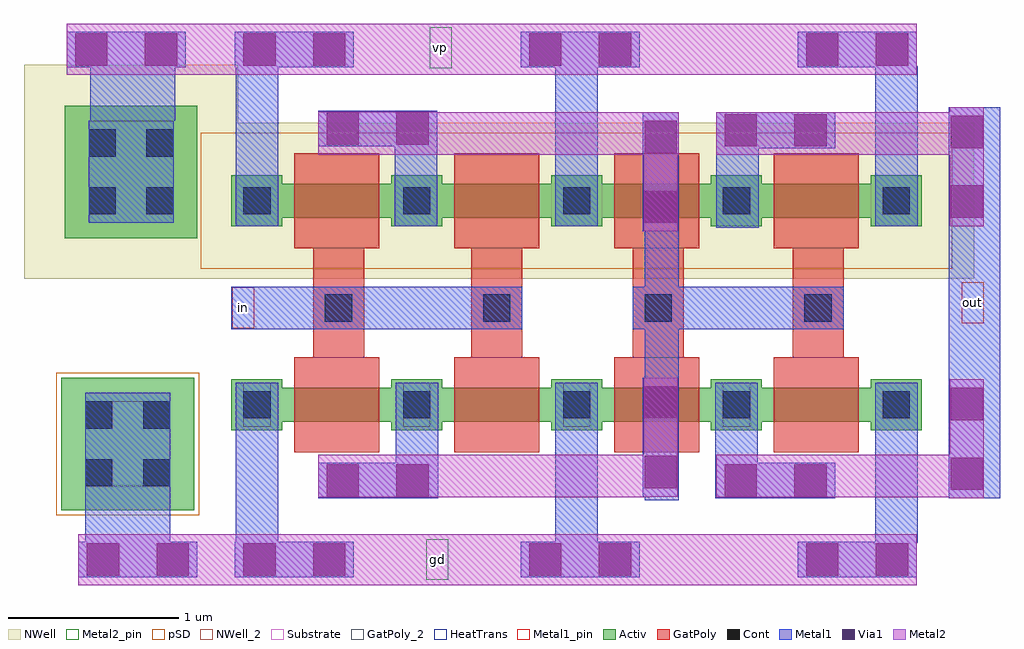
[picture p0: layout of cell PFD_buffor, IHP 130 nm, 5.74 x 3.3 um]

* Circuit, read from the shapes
.subckt PFD_buffor gd in out vp
XM1 n1 in gd gd sg13_lv_nmos w=0.2u l=0.5u m=2
XM2 out n1 gd gd sg13_lv_nmos w=0.2u l=0.5u m=2
XM3 n1 in vp vp sg13_lv_pmos w=0.2u l=0.5u m=2
XM4 out n1 vp vp sg13_lv_pmos w=0.2u l=0.5u m=2
.ends

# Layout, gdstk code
import gdstk
lib = gdstk.Library(unit=1e-6, precision=1e-09)
def R(c, l, rs):  # rectangles x0, y0, x1, y1
    for r in rs: c.add(gdstk.rectangle(r[:2], r[2:], *l))
def A(c, l, x, y, w, h, nx, ny, dx, dy):  # array of equal rectangles
    R(c, l, [(x+i*dx, y+j*dy, x+i*dx+w, y+j*dy+h) for i in range(nx) for j in range(ny)])
Activ = (1, 0)
GatPoly = (5, 0)
GatPoly_2 = (5, 2)
Cont = (6, 0)
Metal1 = (8, 0)
Metal1_pin = (8, 2)
Metal2 = (10, 0)
Metal2_pin = (10, 2)
pSD = (14, 0)
Via1 = (19, 0)
NWell = (31, 0)
NWell_2 = (31, 2)
Substrate = (40, 0)
HeatTrans = (51, 0)

pmos = lib.new_cell('pmos')
A(pmos, Activ, 0, 0, 0.3, 0.3, 3, 1, 0.94, 0)
R(pmos, Activ, [(0,0.05,2.18,0.25)])
R(pmos, GatPoly, [(0.37,-0.13,0.87,0.43), (0.37,-0.13,0.87,0.43), (1.31,-0.13,1.81,0.43)])
A(pmos, Cont, 0.07, 0.07, 0.16, 0.16, 3, 1, 0.94, 0)
R(pmos, Metal1, [(0.07,0.02,0.23,0.28), (0.07,0.02,0.23,0.28), (1.01,0.02,1.17,0.28), (1.01,0.02,1.17,0.28), (1.95,0.02,2.11,0.28)])
R(pmos, pSD, [(-0.18,-0.25,2.36,0.55)])
R(pmos, NWell, [(-0.31,-0.31,2.49,0.61)])
R(pmos, Substrate, [(1.88,0,2.18,0.3)])
R(pmos, HeatTrans, [(0.37,-0.13,0.87,0.43), (1.31,-0.13,1.81,0.43)])
pmos.add(gdstk.Label('pmos', (0.62,0.15), layer=63, texttype=0))
pmos.add(gdstk.Label('pmos', (0.62,0.15), layer=51, texttype=0))
pmos.add(gdstk.Label('pmos', (1.56,0.15), layer=51, texttype=0))

via = lib.new_cell('Via')
R(via, Metal1, [(-0.35,-0.105,0.35,0.105)])
R(via, Metal2, [(-0.35,-0.1,0.35,0.1)])
R(via, Via1, [(-0.3,-0.095,-0.11,0.095), (0.11,-0.095,0.3,0.095)])

nmos = lib.new_cell('nmos')
A(nmos, Activ, 0, 0, 0.3, 0.3, 3, 1, 0.94, 0)
R(nmos, Activ, [(0,0.05,2.18,0.25)])
R(nmos, GatPoly, [(0.37,-0.13,0.87,0.43), (1.31,-0.13,1.81,0.43)])
R(nmos, GatPoly_2, [(0.37,-0.13,0.87,0.43)])
A(nmos, Cont, 0.07, 0.07, 0.16, 0.16, 3, 1, 0.94, 0)
A(nmos, Metal1, 0.07, 0.02, 0.16, 0.26, 3, 1, 0.94, 0)
R(nmos, Metal1_pin, [(0.07,0.02,0.23,0.28), (1.01,0.02,1.17,0.28)])
R(nmos, HeatTrans, [(0.37,-0.13,0.87,0.43), (1.31,-0.13,1.81,0.43)])
nmos.add(gdstk.Label('nmos', (0.62,0.15), layer=63, texttype=0))
nmos.add(gdstk.Label('nmos', (0.62,0.15), layer=51, texttype=0))
nmos.add(gdstk.Label('nmos', (1.56,0.15), layer=51, texttype=0))

via_2 = lib.new_cell('Via$2')
R(via_2, GatPoly, [(-0.15,-0.15,0.15,0.15)])
R(via_2, Cont, [(-0.08,-0.08,0.08,0.08)])
R(via_2, Metal1, [(-0.13,-0.08,0.13,0.08)])

via_4 = lib.new_cell('Via$4')
R(via_4, Metal1, [(-0.105,-0.35,0.105,0.35)])
R(via_4, Metal2, [(-0.1,-0.35,0.1,0.35)])
R(via_4, Via1, [(-0.095,-0.3,0.095,-0.11), (-0.095,0.11,0.095,0.3)])

ptap1 = lib.new_cell('ptap1')
R(ptap1, Activ, [(0,0,0.78,0.78)])
R(ptap1, Cont, [(0.14,0.14,0.3,0.3), (0.48,0.14,0.64,0.3), (0.14,0.48,0.3,0.64), (0.48,0.48,0.64,0.64)])
R(ptap1, Metal1, [(0.14,0.09,0.64,0.69), (0.14,0.14,0.64,0.64)])
R(ptap1, Metal1_pin, [(0.14,0.14,0.64,0.64)])
R(ptap1, pSD, [(-0.03,-0.03,0.81,0.81)])
R(ptap1, Substrate, [(0,0,0.78,0.78)])
ptap1.add(gdstk.Label('sub!', (0.39,0.01), layer=63, texttype=0))
ptap1.add(gdstk.Label('sub!', (0.39,0.01), layer=40, texttype=0))

ntap1 = lib.new_cell('ntap1')
R(ntap1, Activ, [(0,0,0.78,0.78)])
R(ntap1, Cont, [(0.14,0.14,0.3,0.3), (0.48,0.14,0.64,0.3), (0.14,0.48,0.3,0.64), (0.48,0.48,0.64,0.64)])
R(ntap1, Metal1, [(0.14,0.09,0.64,0.69)])
R(ntap1, Metal1_pin, [(0.14,0.09,0.64,0.69), (0.14,0.14,0.64,0.64)])
R(ntap1, NWell, [(-0.24,-0.24,1.02,1.02), (0,0,0.78,0.78)])
R(ntap1, NWell_2, [(0,0,0.78,0.78)])
ntap1.add(gdstk.Label('well', (0.39,0.01), layer=63, texttype=0))
ntap1.add(gdstk.Label('well', (0.39,0.01), layer=31, texttype=0))

pfd_buffor = lib.new_cell('PFD_buffor')
R(pfd_buffor, GatPoly, [(-0.23,-0.01,0.07,0.63), (0.7,-0.01,1,0.63), (1.65,-0.01,1.95,0.63), (2.59,-0.01,2.89,0.63)])
R(pfd_buffor, Metal1, [(-1.57,-1.095,-1.07,-0.82), (-1.54,1.38,-1.04,1.71)])
R(pfd_buffor, Metal1_pin, [(-0.705,0.16,-0.575,0.4), (3.585,0.19,3.715,0.43)])
R(pfd_buffor, Metal2, [(-1.61,-1.35,-0.69,-1.05), (1.375,-0.835,1.75,-0.585), (-1.68,1.65,-1.54,1.95), (-1.54,1.65,-0.69,1.95)])
R(pfd_buffor, Metal2_pin, [(0.435,-1.32,0.565,-1.08), (0.455,1.69,0.585,1.93)])
pfd_buffor.add(gdstk.FlexPath([(2.265,1.43),(2.265,0.75)], 0.25, ends="flush", simple_path=True, layer=8, datatype=0))  # Metal1
pfd_buffor.add(gdstk.FlexPath([(0.38,-0.16),(0.38,-0.84)], 0.25, ends="flush", simple_path=True, layer=8, datatype=0))  # Metal1
pfd_buffor.add(gdstk.FlexPath([(-0.56,0.76),(-0.56,1.7)], 0.25, ends="flush", simple_path=True, layer=8, datatype=0))  # Metal1
pfd_buffor.add(gdstk.FlexPath([(1.32,0.76),(1.32,1.7)], 0.25, ends="flush", simple_path=True, layer=8, datatype=0))  # Metal1
pfd_buffor.add(gdstk.FlexPath([(3.2,0.76),(3.2,1.7)], 0.25, ends="flush", simple_path=True, layer=8, datatype=0))  # Metal1
pfd_buffor.add(gdstk.FlexPath([(-0.56,-1.1),(-0.56,-0.16)], 0.25, ends="flush", simple_path=True, layer=8, datatype=0))  # Metal1
pfd_buffor.add(gdstk.FlexPath([(1.32,-1.1),(1.32,-0.16)], 0.25, ends="flush", simple_path=True, layer=8, datatype=0))  # Metal1
pfd_buffor.add(gdstk.FlexPath([(3.2,-1.1),(3.2,-0.16)], 0.25, ends="flush", simple_path=True, layer=8, datatype=0))  # Metal1
pfd_buffor.add(gdstk.FlexPath([(0.375,1.44),(0.375,0.76)], 0.25, ends="flush", simple_path=True, layer=8, datatype=0))  # Metal1
pfd_buffor.add(gdstk.FlexPath([(2.26,-0.16),(2.26,-0.84)], 0.25, ends="flush", simple_path=True, layer=8, datatype=0))  # Metal1
pfd_buffor.add(gdstk.FlexPath([(1,0.28),(-0.71,0.28)], 0.25, ends="flush", simple_path=True, layer=8, datatype=0))  # Metal1
pfd_buffor.add(gdstk.FlexPath([(3.66,1.46),(3.66,-0.84)], 0.3, ends="flush", simple_path=True, layer=8, datatype=0))  # Metal1
pfd_buffor.add(gdstk.FlexPath([(1.65,0.28),(2.89,0.28)], 0.25, ends="flush", simple_path=True, layer=8, datatype=0))  # Metal1
pfd_buffor.add(gdstk.FlexPath([(1.82,1.43),(1.82,-0.85)], 0.2, ends="flush", simple_path=True, layer=8, datatype=0))  # Metal1
pfd_buffor.add(gdstk.FlexPath([(2.14,1.305),(3.715,1.305)], 0.25, ends="flush", simple_path=True, layer=10, datatype=0))  # Metal2
pfd_buffor.add(gdstk.FlexPath([(-0.69,1.8),(3.32,1.8)], 0.3, ends="flush", simple_path=True, layer=10, datatype=0))  # Metal2
pfd_buffor.add(gdstk.FlexPath([(-0.69,-1.2),(3.32,-1.2)], 0.3, ends="flush", simple_path=True, layer=10, datatype=0))  # Metal2
pfd_buffor.add(gdstk.FlexPath([(2.14,-0.71),(3.715,-0.71)], 0.25, ends="flush", simple_path=True, layer=10, datatype=0))  # Metal2
pfd_buffor.add(gdstk.FlexPath([(-0.2,-0.71),(1.375,-0.71)], 0.25, ends="flush", simple_path=True, layer=10, datatype=0))  # Metal2
pfd_buffor.add(gdstk.FlexPath([(-0.2,1.305),(1.92,1.305)], 0.25, ends="flush", simple_path=True, layer=10, datatype=0))  # Metal2
pfd_buffor.add(gdstk.Reference(pmos, (-0.71,0.76)))
pfd_buffor.add(gdstk.Reference(pmos, (1.17,0.76)))
pfd_buffor.add(gdstk.Reference(via, (1.34,-1.2)))
pfd_buffor.add(gdstk.Reference(nmos, (1.17,-0.44)))
pfd_buffor.add(gdstk.Reference(via, (1.34,1.8)))
pfd_buffor.add(gdstk.Reference(via, (2.97,1.8)))
pfd_buffor.add(gdstk.Reference(via, (2.97,-1.2)))
pfd_buffor.add(gdstk.Reference(via, (-0.34,-1.2)))
pfd_buffor.add(gdstk.Reference(via_2, (-0.08,0.28)))
pfd_buffor.add(gdstk.Reference(via_2, (0.85,0.28)))
pfd_buffor.add(gdstk.Reference(via, (0.15,-0.735)))
pfd_buffor.add(gdstk.Reference(via_2, (1.8,0.28)))
pfd_buffor.add(gdstk.Reference(via_2, (2.74,0.28)))
pfd_buffor.add(gdstk.Reference(nmos, (-0.71,-0.44)))
pfd_buffor.add(gdstk.Reference(via, (0.15,1.335)))
pfd_buffor.add(gdstk.Reference(via, (2.49,1.325)))
pfd_buffor.add(gdstk.Reference(via, (2.49,-0.735)))
pfd_buffor.add(gdstk.Reference(via_4, (3.615,1.11)))
pfd_buffor.add(gdstk.Reference(via_4, (3.615,-0.49)))
pfd_buffor.add(gdstk.Reference(via_4, (1.815,-0.48)))
pfd_buffor.add(gdstk.Reference(via_4, (1.815,1.08)))
pfd_buffor.add(gdstk.Reference(via, (-0.34,1.8)))
pfd_buffor.add(gdstk.Reference(ptap1, (-1.71,-0.91)))
pfd_buffor.add(gdstk.Reference(ntap1, (-1.69,0.69)))
pfd_buffor.add(gdstk.Reference(via, (-1.26,-1.2)))
pfd_buffor.add(gdstk.Reference(via, (-1.33,1.8)))
pfd_buffor.add(gdstk.Label('in', (-0.64,0.28), layer=8, texttype=25))
pfd_buffor.add(gdstk.Label('out', (3.65,0.31), layer=8, texttype=25))
pfd_buffor.add(gdstk.Label('vp', (0.52,1.81), layer=10, texttype=25))
pfd_buffor.add(gdstk.Label('gd', (0.5,-1.2), layer=10, texttype=25))

lib.write_gds('PFD_buffor.gds')
